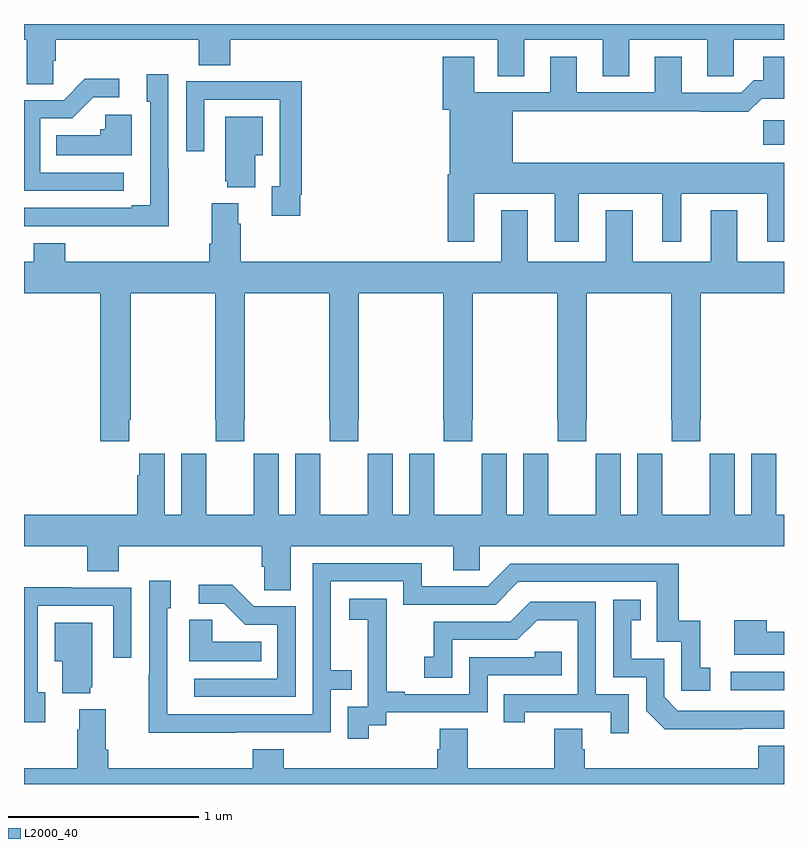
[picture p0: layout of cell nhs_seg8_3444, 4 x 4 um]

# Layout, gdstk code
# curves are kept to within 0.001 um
import gdstk
lib = gdstk.Library(unit=1e-6, precision=1e-09)
def R(c, l, rs):  # rectangles x0, y0, x1, y1
    for r in rs: c.add(gdstk.rectangle(r[:2], r[2:], *l))
def P(c, l, *ps):  # polygons
    for p in ps: c.add(gdstk.Polygon(p, *l))
L2000_40 = (2000, 40)

nhs_seg8_3444 = lib.new_cell('nhs_seg8_3444')
R(nhs_seg8_3444, L2000_40, [(326.721,1130.394,327,1130.49), (326.892,1133.264,327,1133.393)])
P(nhs_seg8_3444, L2000_40, [(325.493,1133.626),(325.633,1133.626),(325.633,1133.816),(326.045,1133.816),(326.045,1133.626),(326.185,1133.626),(326.185,1133.816),(326.597,1133.816),(326.597,1133.626),(326.736,1133.626),(326.736,1133.816),(327,1133.816),(327,1133.9),(323,1133.9),(323,1133.816),(323.015,1133.816),(323.015,1133.584),(323.154,1133.584),(323.154,1133.707),(323.168,1133.707),(323.168,1133.816),(323.921,1133.816),(323.921,1133.683),(324.086,1133.683),(324.086,1133.816),(325.493,1133.816)],
  [(325.369,1133.006),(325.793,1133.006),(325.793,1132.755),(325.921,1132.755),(325.921,1133.006),(326.36,1133.006),(326.36,1132.755),(326.458,1132.755),(326.458,1133.006),(326.912,1133.006),(326.912,1132.755),(327,1132.755),(327,1133.17),(325.573,1133.17),(325.573,1133.44),(326.557,1133.44),(326.557,1133.438),(326.813,1133.438),(326.882,1133.507),(327,1133.507),(327,1133.728),(326.891,1133.728),(326.891,1133.605),(326.842,1133.605),(326.775,1133.538),(326.461,1133.538),(326.461,1133.728),(326.321,1133.728),(326.321,1133.541),(325.909,1133.541),(325.909,1133.728),(325.769,1133.728),(325.769,1133.541),(325.369,1133.541),(325.369,1133.728),(325.205,1133.728),(325.205,1133.448),(325.241,1133.448),(325.241,1133.11),(325.229,1133.11),(325.229,1132.755),(325.369,1132.755)],
  [(323.763,1133.141),(323.76,1133.141),(323.76,1133.635),(323.645,1133.635),(323.645,1133.49),(323.664,1133.49),(323.664,1132.945),(323.567,1132.945),(323.567,1132.932),(323,1132.932),(323,1132.836),(323.299,1132.836),(323.299,1132.835),(323.763,1132.835)],
  [(323.524,1133.118),(323.085,1133.118),(323.085,1133.403),(323.254,1133.403),(323.365,1133.514),(323.5,1133.514),(323.5,1133.612),(323.321,1133.612),(323.208,1133.499),(323,1133.499),(323,1133.022),(323.524,1133.022)],
  [(324.454,1133.002),(324.461,1133.002),(324.461,1133.6),(324.169,1133.6),(324.169,1133.598),(323.853,1133.598),(323.853,1133.229),(323.949,1133.229),(323.949,1133.502),(324.345,1133.502),(324.345,1133.046),(324.305,1133.046),(324.305,1132.89),(324.454,1132.89)],
  [(323.566,1133.422),(323.427,1133.422),(323.427,1133.346),(323.401,1133.346),(323.401,1133.314),(323.17,1133.314),(323.17,1133.21),(323.566,1133.21)],
  [(324.217,1133.21),(324.256,1133.21),(324.256,1133.413),(324.059,1133.413),(324.059,1133.073),(324.071,1133.073),(324.071,1133.042),(324.217,1133.042)],
  [(323.555,1131.817),(323.562,1131.817),(323.562,1132.484),(324.007,1132.484),(324.007,1131.817),(324.009,1131.817),(324.009,1131.705),(324.159,1131.705),(324.159,1131.817),(324.162,1131.817),(324.162,1132.484),(324.607,1132.484),(324.607,1131.817),(324.609,1131.817),(324.609,1131.705),(324.759,1131.705),(324.759,1131.817),(324.762,1131.817),(324.762,1132.484),(325.207,1132.484),(325.207,1131.817),(325.209,1131.817),(325.209,1131.705),(325.359,1131.705),(325.359,1131.817),(325.362,1131.817),(325.362,1132.484),(325.807,1132.484),(325.807,1131.817),(325.809,1131.817),(325.809,1131.705),(325.959,1131.705),(325.959,1131.817),(325.962,1131.817),(325.962,1132.484),(326.407,1132.484),(326.407,1131.817),(326.409,1131.817),(326.409,1131.705),(326.559,1131.705),(326.559,1131.817),(326.562,1131.817),(326.562,1132.484),(327,1132.484),(327,1132.648),(326.755,1132.648),(326.755,1132.921),(326.615,1132.921),(326.615,1132.648),(326.203,1132.648),(326.203,1132.921),(326.063,1132.921),(326.063,1132.648),(325.651,1132.648),(325.651,1132.921),(325.511,1132.921),(325.511,1132.648),(324.14,1132.648),(324.14,1132.85),(324.127,1132.85),(324.127,1132.957),(323.987,1132.957),(323.987,1132.744),(323.975,1132.744),(323.975,1132.648),(323.216,1132.648),(323.216,1132.747),(323.051,1132.747),(323.051,1132.648),(323,1132.648),(323,1132.484),(323.402,1132.484),(323.402,1131.705),(323.555,1131.705)],
  [(324.403,1131.152),(325.259,1131.152),(325.259,1131.025),(325.398,1131.025),(325.398,1131.152),(327,1131.152),(327,1131.316),(326.959,1131.316),(326.959,1131.524),(326.958,1131.524),(326.958,1131.637),(326.828,1131.637),(326.828,1131.316),(326.74,1131.316),(326.74,1131.637),(326.61,1131.637),(326.61,1131.524),(326.609,1131.524),(326.609,1131.316),(326.359,1131.316),(326.359,1131.524),(326.358,1131.524),(326.358,1131.637),(326.228,1131.637),(326.228,1131.316),(326.14,1131.316),(326.14,1131.637),(326.01,1131.637),(326.01,1131.524),(326.009,1131.524),(326.009,1131.316),(325.759,1131.316),(325.759,1131.524),(325.758,1131.524),(325.758,1131.637),(325.628,1131.637),(325.628,1131.316),(325.54,1131.316),(325.54,1131.637),(325.41,1131.637),(325.41,1131.524),(325.409,1131.524),(325.409,1131.316),(325.159,1131.316),(325.159,1131.524),(325.158,1131.524),(325.158,1131.637),(325.028,1131.637),(325.028,1131.316),(324.94,1131.316),(324.94,1131.637),(324.81,1131.637),(324.81,1131.524),(324.809,1131.524),(324.809,1131.316),(324.559,1131.316),(324.559,1131.524),(324.558,1131.524),(324.558,1131.637),(324.428,1131.637),(324.428,1131.316),(324.34,1131.316),(324.34,1131.637),(324.21,1131.637),(324.21,1131.524),(324.209,1131.524),(324.209,1131.316),(323.959,1131.316),(323.959,1131.524),(323.958,1131.524),(323.958,1131.637),(323.828,1131.637),(323.828,1131.316),(323.74,1131.316),(323.74,1131.637),(323.606,1131.637),(323.606,1131.524),(323.597,1131.524),(323.597,1131.316),(323,1131.316),(323,1131.152),(323.333,1131.152),(323.333,1131.019),(323.498,1131.019),(323.498,1131.152),(324.251,1131.152),(324.251,1131.043),(324.264,1131.043),(324.264,1130.92),(324.403,1130.92)],
  [(324.119,1130.172),(324.615,1130.172),(324.615,1130.397),(324.725,1130.397),(324.725,1130.498),(324.615,1130.498),(324.615,1130.967),(324.996,1130.967),(324.996,1130.844),(325.482,1130.844),(325.602,1130.964),(326.331,1130.964),(326.331,1130.649),(326.46,1130.649),(326.46,1130.391),(326.611,1130.391),(326.611,1130.511),(326.558,1130.511),(326.558,1130.758),(326.447,1130.758),(326.447,1131.06),(325.56,1131.06),(325.44,1130.94),(325.093,1130.94),(325.093,1131.063),(324.519,1131.063),(324.519,1130.268),(323.754,1130.268),(323.754,1130.826),(323.773,1130.826),(323.773,1130.971),(323.658,1130.971),(323.658,1130.477),(323.656,1130.477),(323.656,1130.171)],
  [(324.429,1130.835),(324.21,1130.835),(324.097,1130.948),(323.919,1130.948),(323.919,1130.85),(324.053,1130.85),(324.164,1130.739),(324.333,1130.739),(324.333,1130.454),(323.895,1130.454),(323.895,1130.358),(324.429,1130.358)],
  [(323.113,1130.382),(323.073,1130.382),(323.073,1130.838),(323.469,1130.838),(323.469,1130.565),(323.565,1130.565),(323.565,1130.934),(323.249,1130.934),(323.249,1130.936),(323,1130.936),(323,1130.226),(323.113,1130.226)],
  [(324.814,1130.209),(324.906,1130.209),(324.906,1130.277),(325.44,1130.277),(325.44,1130.472),(325.829,1130.472),(325.829,1130.595),(325.689,1130.595),(325.689,1130.568),(325.344,1130.568),(325.344,1130.373),(325.003,1130.373),(325.003,1130.386),(324.908,1130.386),(324.908,1130.669),(324.909,1130.669),(324.909,1130.875),(324.711,1130.875),(324.711,1130.765),(324.809,1130.765),(324.809,1130.537),(324.81,1130.537),(324.81,1130.307),(324.705,1130.307),(324.705,1130.139),(324.814,1130.139)],
  [(326.78,1130.19),(327,1130.19),(327,1130.286),(326.442,1130.286),(326.37,1130.358),(326.37,1130.559),(326.197,1130.559),(326.197,1130.763),(326.246,1130.763),(326.246,1130.869),(326.1,1130.869),(326.1,1130.463),(326.274,1130.463),(326.274,1130.286),(326.372,1130.189)],
  [(326.184,1130.373),(326.01,1130.373),(326.01,1130.859),(325.664,1130.859),(325.559,1130.754),(325.156,1130.754),(325.156,1130.569),(325.107,1130.569),(325.107,1130.46),(325.254,1130.46),(325.254,1130.658),(325.596,1130.658),(325.7,1130.762),(325.914,1130.762),(325.914,1130.373),(325.525,1130.373),(325.525,1130.226),(325.636,1130.226),(325.636,1130.277),(326.087,1130.277),(326.087,1130.166),(326.184,1130.166)],
  [(324.248,1130.65),(323.991,1130.65),(323.991,1130.765),(323.87,1130.765),(323.87,1130.546),(324.248,1130.546)],
  [(327,1130.701),(326.909,1130.701),(326.909,1130.761),(326.738,1130.761),(326.738,1130.579),(327,1130.579)],
  [(323.348,1130.409),(323.359,1130.409),(323.359,1130.749),(323.162,1130.749),(323.162,1130.546),(323.201,1130.546),(323.201,1130.378),(323.348,1130.378)],
  [(327,1130.101),(326.864,1130.101),(326.864,1129.984),(325.952,1129.984),(325.952,1130.082),(325.939,1130.082),(325.939,1130.192),(325.792,1130.192),(325.792,1129.984),(325.335,1129.984),(325.335,1130.192),(325.187,1130.192),(325.187,1130.082),(325.175,1130.082),(325.175,1129.984),(324.368,1129.984),(324.368,1130.083),(324.203,1130.083),(324.203,1129.984),(323.444,1129.984),(323.444,1130.08),(323.431,1130.08),(323.431,1130.293),(323.291,1130.293),(323.291,1130.186),(323.279,1130.186),(323.279,1129.984),(323,1129.984),(323,1129.9),(327,1129.9)])

lib.write_gds('nhs_seg8_3444.gds')
